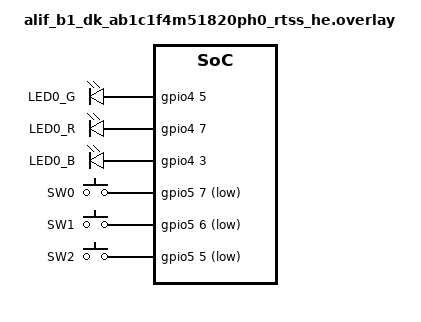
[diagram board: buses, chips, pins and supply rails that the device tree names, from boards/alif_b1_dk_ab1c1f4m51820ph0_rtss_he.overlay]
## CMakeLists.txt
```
# Copyright (C) 2026 Alif Semiconductor - All Rights Reserved.
# Use, distribution and modification of this code is permitted under the
# terms stated in the Alif Semiconductor Software License Agreement
#
# You should have received a copy of the Alif Semiconductor Software
# License Agreement with this file. If not, please write to:
# contact@alifsemi.com, or visit: https://alifsemi.com/license

cmake_minimum_required(VERSION 3.20.0)
find_package(Zephyr REQUIRED HINTS $ENV{ZEPHYR_BASE})
project(le_periph_mcs)

include(${CMAKE_CURRENT_SOURCE_DIR}/../common/CMakeLists.txt)

# Include directories
target_include_directories(app PRIVATE
	${COMMON_INC}
)

target_sources(app PRIVATE
	src/main.c
	../common/ble_gpio.c
	${COMMON_SRCS}
)
```

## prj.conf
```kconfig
CONFIG_BT=y
CONFIG_BT_CUSTOM=y
CONFIG_LOG=y
CONFIG_ASSERT=y
CONFIG_GPIO=y


# Enable the Settings subsystem
CONFIG_SETTINGS=y

# Enable NVS as the backend for Settings
CONFIG_SETTINGS_NVS=y

# Enable flash support
CONFIG_FLASH=y
CONFIG_FLASH_MAP=y

# Enable NVS
CONFIG_NVS=y

# Optional: Enable runtime API for Settings (may be required for some functions)
CONFIG_SETTINGS_RUNTIME=y

CONFIG_MPU_ALLOW_FLASH_WRITE=y


# Needed for Zephyr randomizer
CONFIG_ENTROPY_GENERATOR=y
CONFIG_TEST_RANDOM_GENERATOR=y

# Bluetooth Low Energy device name
CONFIG_BLE_DEVICE_NAME="ALIF_MCS"
```

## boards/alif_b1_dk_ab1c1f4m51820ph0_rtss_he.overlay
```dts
/* Copyright (C) 2024 Alif Semiconductor - All Rights Reserved.
 * Use, distribution and modification of this code is permitted under the
 * terms stated in the Alif Semiconductor Software License Agreement
 *
 * You should have received a copy of the Alif Semiconductor Software
 * License Agreement with this file. If not, please write to:
 * contact@alifsemi.com, or visit: https://alifsemi.com/license
 */



&{/} {
	aliases {
		ledgreen = &aled0;
		ledred = &aled1;
		ledblue = &aled2;
		sw0 = &button0;
		sw1 = &button1;
		sw2 = &button2;
	};
	leds {
		compatible = "gpio-leds";
		aled0: led_0 {
			gpios = <&gpio4 5 0>;
			label = "LED0_G";
		};

		aled1: led_1 {
			gpios = <&gpio4 7 0>;
			label = "LED0_R";
		};

		aled2: led_2 {
			gpios = <&gpio4 3 0>;
			label = "LED0_B";
		};
	};

	buttons {
		compatible = "gpio-keys";
		button0: button_0 {
			gpios = < &gpio5 7 GPIO_ACTIVE_LOW >;
			label = "SW0";
		};
		button1: button_1 {
			gpios = < &gpio5 6 GPIO_ACTIVE_LOW >;
			label = "SW1";
		};

		button2: button_2 {
			gpios = < &gpio5 5 GPIO_ACTIVE_LOW >;
			label = "SW2";
		};
	};
};

/* for "buttons" node gpio5_7, enable software pull-up */
&pinctrl_gpio5 {
	group0 {
		pinmux = < PIN_P5_0__GPIO >,
			 < PIN_P5_1__GPIO >,
			 < PIN_P5_2__GPIO >,
			 < PIN_P5_3__GPIO >,
			 < PIN_P5_4__GPIO >,
			 < PIN_P5_5__GPIO >,
			 < PIN_P5_6__GPIO >,
			 < PIN_P5_7__GPIO >;
		read-enable = < 0x1 >;
	};

	group1 {
		pinmux = < PIN_P5_5__GPIO >,
			 < PIN_P5_6__GPIO >,
			 < PIN_P5_7__GPIO >;
		driver-state-control = <1>;
	};
};
```

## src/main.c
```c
/* Copyright (C) 2026 Alif Semiconductor - All Rights Reserved.
 * Use, distribution and modification of this code is permitted under the
 * terms stated in the Alif Semiconductor Software License Agreement
 *
 * You should have received a copy of the Alif Semiconductor Software
 * License Agreement with this file. If not, please write to:
 * contact@alifsemi.com, or visit: https://alifsemi.com/license
 */

/* This application demonstrates the communication and control of a device
 * allowing to remotely control an LED, and to transmit the state of a button.
 */

#include <zephyr/kernel.h>
#include <zephyr/logging/log.h>
#include "alif_ble.h"
#include "gapm.h"
#include "gap_le.h"
#include "gapc_le.h"
#include "gapc_sec.h"
#include "gapm_le.h"
#include "gapm_le_adv.h"
#include "co_buf.h"
#include "prf.h"
#include "gatt_db.h"
#include "gatt_srv.h"
#include "ke_mem.h"
#include <zephyr/drivers/gpio.h>
#include "address_verification.h"
#include "gapm_api.h"
#include "ble_gpio.h"
#include "arc_mics.h"
#include "ble_storage.h"

/* List of Mute value for MCS */
enum app_mic_mute {
	/* Mic not muted */
	MIC_MUTE_NOT_MUTED = 0,
	/* Mic muted */
	MIC_MUTE_MUTED,
	/* Local disabled  */
	MIC_MUTE_DISABLED,
};

/* Bluetooth stack configuration*/
static gapm_config_t gapm_cfg = {
	.role = GAP_ROLE_LE_PERIPHERAL,
	.pairing_mode = GAPM_PAIRING_SEC_CON,
	.privacy_cfg = GAPM_PRIV_CFG_PRIV_ADDR_BIT,
	.renew_dur = 1500,
	.private_identity.addr = {0},
	.irk.key = {0xA1, 0xB2, 0xC3, 0xD4, 0xE5, 0xF6, 0x07, 0x08, 0x11, 0x22, 0x33, 0x44, 0x55,
		    0x66, 0x77, 0x88},
	.gap_start_hdl = 0,
	.gatt_start_hdl = 0,
	.att_cfg = 0,
	.sugg_max_tx_octets = GAP_LE_MIN_OCTETS,
	.sugg_max_tx_time = GAP_LE_MIN_TIME,
	.tx_pref_phy = GAP_PHY_LE_2MBPS,
	.rx_pref_phy = GAP_PHY_LE_2MBPS,
	.tx_path_comp = 0,
	.rx_path_comp = 0,
	.class_of_device = 0x200408,  /* BT Classic only */
	.dflt_link_policy = 0, /* BT Classic only */
};

struct service_env {
	uint8_t mute;
	uint16_t ntf_cfg;
};

static uint8_t conn_status = BT_CONN_STATE_DISCONNECTED;

/* Load name from configuration file */
#define DEVICE_NAME      CONFIG_BLE_DEVICE_NAME

static struct service_env env;

void LedWorkerHandler(struct k_work *work);

static K_WORK_DELAYABLE_DEFINE(ledWork, LedWorkerHandler);

static const struct gpio_dt_spec activeLed = GPIO_DT_SPEC_GET(DT_ALIAS(ledgreen), gpios);
static const struct gpio_dt_spec muteLed = GPIO_DT_SPEC_GET(DT_ALIAS(ledred), gpios);
static const struct gpio_dt_spec bleLed = GPIO_DT_SPEC_GET(DT_ALIAS(ledblue), gpios);

static struct connection_status app_con_info = {
	.conidx = GAP_INVALID_CONIDX,
	.addr.addr_type = 0xff,
};

/* Macros */
LOG_MODULE_REGISTER(main, LOG_LEVEL_DBG);

/* function headers */
static uint16_t service_init(void);

/* Functions */

static void UpdateMuteLedstate(void)
{
	k_work_reschedule(&ledWork, K_MSEC(1));
}

static uint16_t create_advertising(void)
{

	uint16_t err;

	err = bt_gaf_create_adv(DEVICE_NAME, strlen(DEVICE_NAME), &app_con_info.addr);
	if (err != GAF_ERR_NO_ERROR) {
		LOG_ERR("Unable to configure GAF advertiser! Error %u (0x%02X)", err, err);
		return err;
	}
	LOG_DBG("GAF advertiser is configured");

	return err;
}

static void server_configure(void)
{
	uint16_t err;

	err = service_init();

	if (err) {
		LOG_ERR("Error %u adding profile", err);
	}
}

void mics_cb_bond_data(uint8_t con_lid, uint8_t cli_cfg_bf)
{
	LOG_DBG("MCS Bond data %u con_lid %u cnf", con_lid, cli_cfg_bf);
	env.ntf_cfg = cli_cfg_bf;
	if (cli_cfg_bf) {
		arc_mics_set_mute(env.mute);
	}
}

static void mics_cb_mute(uint8_t mute)
{
	if (env.mute != mute) {
		env.mute = mute;
		UpdateMuteLedstate();
	}
}

static arc_mics_cb_t mics_cb;

/*
 * Service functions
 */
static uint16_t service_init(void)
{
	uint16_t status;

	mics_cb.cb_mute = mics_cb_mute;
	mics_cb.cb_bond_data = mics_cb_bond_data;

	env.mute = MIC_MUTE_NOT_MUTED;
	env.ntf_cfg = 0;

	status = arc_mics_configure(&mics_cb, 0, env.mute, 0, 0, NULL);

	if (status != GAP_ERR_NO_ERROR) {
		LOG_ERR("MCS configure problem %u", status);
	}

	return status;
}

void ButtonUpdateHandler(uint32_t button_state, uint32_t has_changed)
{
	if (has_changed & 1) {
		/* Press Button Update toggle led when state goes to 0 */
		if (!(button_state & 1)) {
			/* Toggle Light onOff server state */
			uint8_t new_state;

			switch (env.mute) {
			case MIC_MUTE_DISABLED:
				new_state = MIC_MUTE_NOT_MUTED;
				break;
			case MIC_MUTE_NOT_MUTED:
				new_state = MIC_MUTE_MUTED;
				break;
			default:
				new_state = MIC_MUTE_DISABLED;
				break;
			}

			LOG_DBG("Set MCS state %u", new_state);
			arc_mics_set_mute(new_state);

			env.mute = new_state;
			UpdateMuteLedstate();
		}
	}
}

void LedWorkerHandler(struct k_work *work)
{
	int res_schedule_time = 0;

	if (conn_status == BT_CONN_STATE_CONNECTED) {
		ble_gpio_led_set(&bleLed, false);
	} else {
		ble_gpio_led_toggle(&bleLed);
		res_schedule_time = 500;
	}

	switch (env.mute) {
	case MIC_MUTE_MUTED:
		res_schedule_time = 500;
		ble_gpio_led_set(&activeLed, false);
		ble_gpio_led_toggle(&muteLed);
		break;
	case MIC_MUTE_DISABLED:
		ble_gpio_led_set(&activeLed, false);
		ble_gpio_led_set(&muteLed, true);
		break;
	default:
		ble_gpio_led_set(&activeLed, true);
		ble_gpio_led_set(&muteLed, false);
		break;
	}

	if (res_schedule_time) {
		k_work_reschedule(&ledWork, K_MSEC(res_schedule_time));
	}
}

void app_connection_status_update(enum gapm_connection_event con_event, uint8_t con_idx,
				  uint16_t status)
{
	switch (con_event) {
	case GAPM_API_SEC_CONNECTED_KNOWN_DEVICE:
		conn_status = BT_CONN_STATE_CONNECTED;
		LOG_INF("Connection index %u connected to known device", con_idx);
		break;
	case GAPM_API_DEV_CONNECTED:
		conn_status = BT_CONN_STATE_CONNECTED;
		LOG_INF("Connection index %u connected to new device", con_idx);
		break;
	case GAPM_API_DEV_DISCONNECTED:
		LOG_INF("Connection index %u disconnected for reason %u", con_idx, status);
		conn_status = BT_CONN_STATE_DISCONNECTED;
		break;
	case GAPM_API_PAIRING_FAIL:
		LOG_INF("Connection pairing index %u fail for reason %u", con_idx, status);
		break;
	}

	UpdateMuteLedstate();
}

static gapm_user_cb_t gapm_user_cb = {
	.connection_status_update = app_connection_status_update,
};

int main(void)
{
	uint16_t err;

	ble_storage_init();

	err = ble_gpio_buttons_init(ButtonUpdateHandler);
	if (err) {
		LOG_ERR("Button Init fail %u", err);
		return -1;
	}

	err = ble_gpio_led_init();

	if (err) {
		LOG_ERR("Led Init fail %u", err);
		return -1;
	}

	/* Start up bluetooth host stack */
	alif_ble_enable(NULL);

	/* Define Private identity */
	bt_generate_private_identity(&gapm_cfg);

	/* Configure Bluetooth Stack */
	LOG_INF("Init gapm service");
	err = bt_gapm_init(&gapm_cfg, &gapm_user_cb, DEVICE_NAME, strlen(DEVICE_NAME));
	if (err) {
		LOG_ERR("gapm_configure error %u", err);
		return -1;
	}

	server_configure();

	err = create_advertising();
	if (err) {
		LOG_ERR("Advertisement create fail %u", err);
		return -1;
	}

	/* Start a Generic audio advertisement */
	err = bt_gaf_adv_start(&app_con_info.addr);

	if (err) {
		LOG_ERR("Advertisement start fail %u", err);
		return -1;
	}

	print_device_identity();
	/* Set a Led init state */
	k_work_reschedule(&ledWork, K_MSEC(1));
	return 0;
}
```
